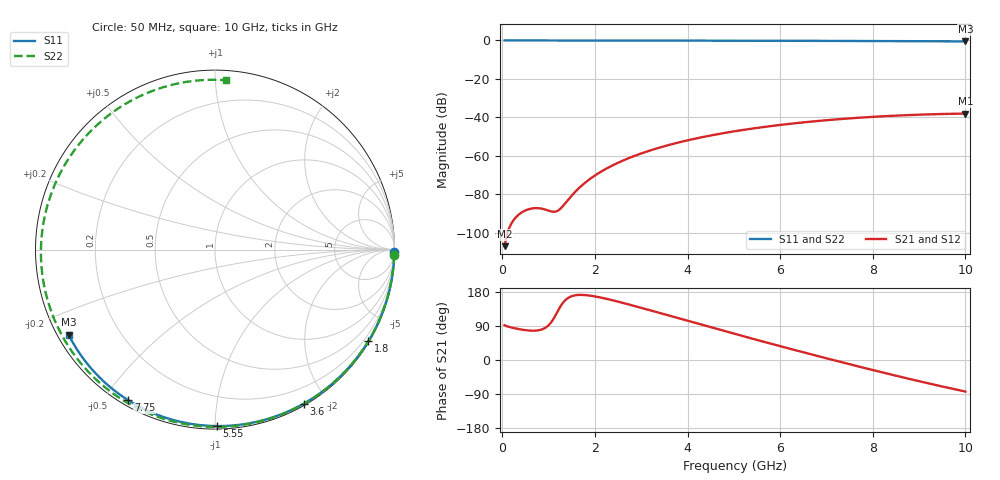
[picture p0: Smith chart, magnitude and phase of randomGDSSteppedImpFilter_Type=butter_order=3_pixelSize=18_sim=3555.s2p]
! freq	dB(S11)	phase(S11)	dB(S12)	phase(S12)
!  dB(S21)	phase(S21)	dB(S22)	phase(S22)
!S-par simulation data
#  GHz  S  DB  R 50
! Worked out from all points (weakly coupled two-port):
!   200 points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, 50 MHz to 10 GHz, reference 50 ohm
!   highest |S21| = -37.97 dB at 10 GHz (marker M1); lowest = -106.8 dB at 50 MHz (marker M2)
!   lowest |S11| = -0.5 dB at 10 GHz (marker M3), VSWR 34.40, Z = 1.56 - j13.5 ohm
!   |S11| at or under -10 dB: nowhere
!   |S22| runs from -0.5 to 0.0 dB; largest |S21 - S12| = 0
!   S11 on the Smith chart (normalised r, x): 50 MHz: open; 1.8 GHz: 0.03, -3.63; 3.6 GHz: 0.02, -1.73; 5.55 GHz: 0.02, -1.01; 7.75 GHz: 0.02, -0.58; 10 GHz: 0.03, -0.27
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0.05  -0.00 -0.8  -106.85 91.8  -106.85 91.8  -0.01 -1.7
0.4  -0.01 -6.9  -89.63 80.6  -89.63 80.6  -0.02 -14.4
0.75  -0.02 -13.0  -87.09 77.9  -87.09 77.9  -0.03 -26.8
1.15  -0.02 -19.8  -88.91 118.1  -88.91 118.1  -0.05 -40.8
1.5  -0.03 -25.8  -80.54 168.4  -80.54 168.4  -0.07 -52.6
1.75  -0.04 -30.0  -74.65 171.6  -74.65 171.6  -0.07 -60.8
1.8  -0.04 -30.8  -73.66 171.2  -73.66 171.2  -0.08 -62.5
2.1  -0.05 -35.8  -68.62 165.4  -68.62 165.4  -0.09 -72.0
2.45  -0.05 -41.6  -64.08 155.5  -64.08 155.5  -0.10 -82.8
2.9  -0.06 -48.9  -59.55 141.0  -59.55 141.0  -0.11 -96.1
3.4  -0.08 -56.9  -55.61 124.1  -55.61 124.1  -0.13 -110.2
3.6  -0.08 -60.0  -54.26 117.2  -54.26 117.2  -0.14 -115.6
4.35  -0.10 -71.6  -50.06 91.5  -50.06 91.5  -0.17 -135.1
5.05  -0.13 -82.1  -47.04 67.9  -47.04 67.9  -0.20 -152.4
5.55  -0.15 -89.4  -45.26 51.3  -45.26 51.3  -0.23 -164.4
6.1  -0.17 -97.2  -43.60 33.3  -43.60 33.3  -0.26 -177.3
6.7  -0.21 -105.6  -42.08 14.0  -42.08 14.0  -0.30 168.6
7.2  -0.24 -112.4  -41.02 -1.8  -41.02 -1.8  -0.33 156.8
7.75  -0.28 -119.9  -40.05 -18.9  -40.05 -18.9  -0.36 143.6
8.35  -0.33 -127.9  -39.21 -37.0  -39.21 -37.0  -0.40 128.9
9.2  -0.41 -139.2  -38.39 -61.6  -38.39 -61.6  -0.45 107.4
10  -0.51 -149.8  -37.97 -83.3  -37.97 -83.3  -0.49 86.2
